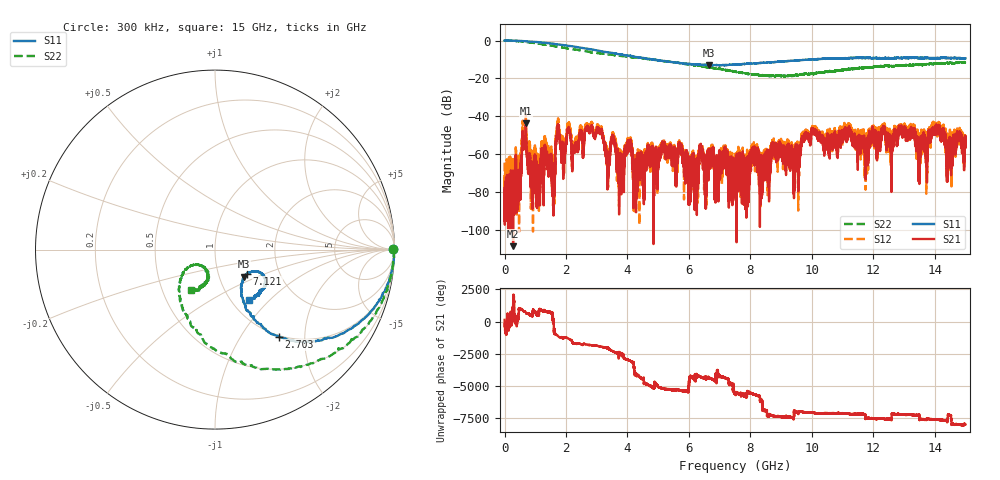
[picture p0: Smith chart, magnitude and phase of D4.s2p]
!Agilent Technologies,N5230C,SG49000117,A.08.50.07
!Agilent N5230C: A.08.50.07
!Date: Monday, December 11, 2023 23:24:05
!Correction: S11(Full 2 Port(1,2))
!S21(Full 2 Port(1,2))
!S12(Full 2 Port(1,2))
!S22(Full 2 Port(1,2))
!S2P File: Measurements: S11, S21, S12, S22:
# Hz S  RI  R 50
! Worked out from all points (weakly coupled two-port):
!   20001 points, 300 kHz to 15 GHz, reference 50 ohm
!   highest |S21| = -43.82 dB at 691.8 MHz (marker M1); lowest = -108.7 dB at 277 MHz (marker M2)
!   lowest |S11| = -13.1 dB at 6.662 GHz (marker M3), VSWR 1.57, Z = 65.6 - j20.8 ohm
!   |S11| at or under -10 dB: 4.81349 GHz to 4.821023 GHz (7.533 MHz wide, 0.156 % of centre); 4.821 GHz to 9.996 GHz (5.174 GHz wide, 69.8 % of centre); 10.03394 GHz to 10.04354 GHz (9.591 MHz wide, 0.0955 % of centre) (the widest 3 of 19)
!   |S22| runs from -19.1 to 0.0 dB; largest |S21 - S12| = 0.0056
!   S11 on the Smith chart (normalised r, x): 300 kHz: open; 2.703 GHz: 0.98, -1.50; 7.121 GHz: 1.37, -0.39; 15 GHz: 1.20, -0.76
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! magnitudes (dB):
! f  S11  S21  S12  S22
! 300 kHz  -0.1  -83.4  -64.5  -0.1
! 277 MHz  -0.1  -108.7  -67.0  -0.1
! 691.8 MHz  -0.4  -43.8  -38.9  -0.9
! 900.3 MHz  -0.6  -70.7  -62.0  -1.2
! 1.362 GHz  -1.3  -62.0  -58.9  -2.3
! 1.57 GHz  -1.7  -68.7  -70.0  -2.8
! 1.735 GHz  -2.1  -44.8  -42.1  -3.4
! 1.902 GHz  -2.4  -64.9  -60.1  -3.8
! 2.501 GHz  -3.9  -47.5  -46.1  -5.2
! 2.703 GHz  -4.4  -46.0  -44.3  -5.8
! 3.354 GHz  -6.2  -72.2  -66.3  -7.3
! 3.536 GHz  -6.7  -51.1  -49.1  -7.6
! 3.776 GHz  -7.3  -62.4  -64.6  -8.1
! 4.062 GHz  -8.0  -55.4  -52.8  -8.6
! 4.259 GHz  -8.7  -66.6  -67.8  -9.0
! 5 GHz  -10.4  -60.7  -59.9  -10.5
! 6.662 GHz  -13.1  -57.3  -57.3  -14.1
! 7.121 GHz  -13.0  -62.1  -59.6  -15.4
! 7.5 GHz  -12.6  -64.1  -61.3  -16.5
! 10 GHz  -10.0  -47.5  -47.1  -17.5
! 12.5 GHz  -9.3  -53.4  -54.8  -13.4
! 15 GHz  -9.4  -54.1  -51.7  -11.6
